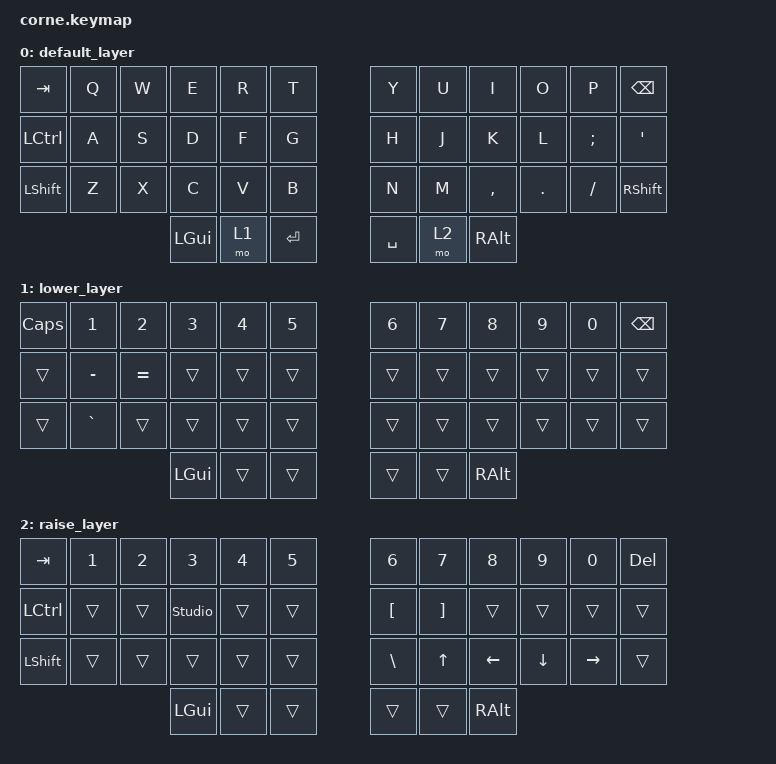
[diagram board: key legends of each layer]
/*
 * Copyright (c) 2020 The ZMK Contributors
 *
 * SPDX-License-Identifier: MIT
 */

#include <behaviors.dtsi>
#include <dt-bindings/zmk/bt.h>
#include <dt-bindings/zmk/keys.h>

/ {
    combos {
        compatible = "zmk,combos";

        BluetoothClear {
            bindings = <&bt BT_CLR>;
            key-positions = <29 5 0>;
        };

        Bluetooth1 {
            bindings = <&bt BT_SEL 0>;
            key-positions = <29 5 1>;
        };

        Bluetooth2 {
            bindings = <&bt BT_SEL 1>;
            key-positions = <5 2 29>;
        };

        Bluetooth3 {
            bindings = <&bt BT_SEL 2>;
            key-positions = <29 5 3>;
        };

        Bluetooth4 {
            bindings = <&bt BT_SEL 3>;
            key-positions = <5 29 4>;
        };
    };

    keymap {
        compatible = "zmk,keymap";

        default_layer {
            // -----------------------------------------------------------------------------------------
            // |  TAB |  Q  |  W  |  E  |  R  |  T  |   |  Y  |  U   |  I  |  O  |  P  | BSPC |
            // | CTRL |  A  |  S  |  D  |  F  |  G  |   |  H  |  J   |  K  |  L  |  ;  |  '   |
            // | SHFT |  Z  |  X  |  C  |  V  |  B  |   |  N  |  M   |  ,  |  .  |  /  | ESC  |
            //                    | GUI | LWR | SPC |   | ENT | RSE  | ALT |

            bindings = <
&kp TAB    &kp Q  &kp W  &kp E     &kp R  &kp T        &kp Y      &kp U  &kp I      &kp O    &kp P     &kp BSPC
&kp LCTRL  &kp A  &kp S  &kp D     &kp F  &kp G        &kp H      &kp J  &kp K      &kp L    &kp SEMI  &kp SQT
&kp LSHFT  &kp Z  &kp X  &kp C     &kp V  &kp B        &kp N      &kp M  &kp COMMA  &kp DOT  &kp FSLH  &kp RIGHT_SHIFT
                         &kp LGUI  &mo 1  &kp ENTER    &kp SPACE  &mo 2  &kp RALT
            >;
        };

        lower_layer {
            // -----------------------------------------------------------------------------------------
            // |  TAB |  1  |  2  |  3  |  4  |  5  |   |  6  |  7  |  8  |  9  |  0  | BSPC |
            // | BTCLR| BT1 | BT2 | BT3 | BT4 | BT5 |   | LFT | DWN |  UP | RGT |     |      |
            // | SHFT |     |     |     |     |     |   |     |     |     |     |     |      |
            //                    | GUI |     | SPC |   | ENT |     | ALT |

            bindings = <
&kp CAPS  &kp N1     &kp N2     &kp N3    &kp N4  &kp N5    &kp N6  &kp N7  &kp N8    &kp N9  &kp N0  &kp BSPC
&trans    &kp MINUS  &kp EQUAL  &trans    &trans  &trans    &trans  &trans  &trans    &trans  &trans  &trans
&trans    &kp GRAVE  &trans     &trans    &trans  &trans    &trans  &trans  &trans    &trans  &trans  &trans
                                &kp LGUI  &trans  &trans    &trans  &trans  &kp RALT
            >;
        };

        raise_layer {
            // -----------------------------------------------------------------------------------------
            // |  TAB |  !  |  @  |  #  |  $  |  %  |   |  ^  |  &  |  *  |  (  |  )  | BSPC |
            // | CTRL |     |     |     |     |     |   |  -  |  =  |  [  |  ]  |  \  |  `   |
            // | SHFT |     |     |     |     |     |   |  _  |  +  |  {  |  }  | "|" |  ~   |
            //                    | GUI |     | SPC |   | ENT |     | ALT |

            bindings = <
&kp TAB    &kp NUMBER_1  &kp NUMBER_2  &kp NUMBER_3  &kp NUMBER_4  &kp NUMBER_5    &kp NUMBER_6      &kp NUMBER_7  &kp NUMBER_8    &kp NUMBER_9    &kp NUMBER_0     &kp DELETE
&kp LCTRL  &trans        &trans        &studio_unlock        &trans        &trans          &kp LEFT_BRACKET  &kp RBKT      &trans          &trans          &trans           &trans
&kp LSHFT  &trans        &trans        &trans        &trans        &trans          &kp BACKSLASH     &kp UP_ARROW  &kp LEFT_ARROW  &kp DOWN_ARROW  &kp RIGHT_ARROW  &trans
                                       &kp LGUI      &trans        &trans          &trans            &trans        &kp RALT
            >;
        };
    };
};
